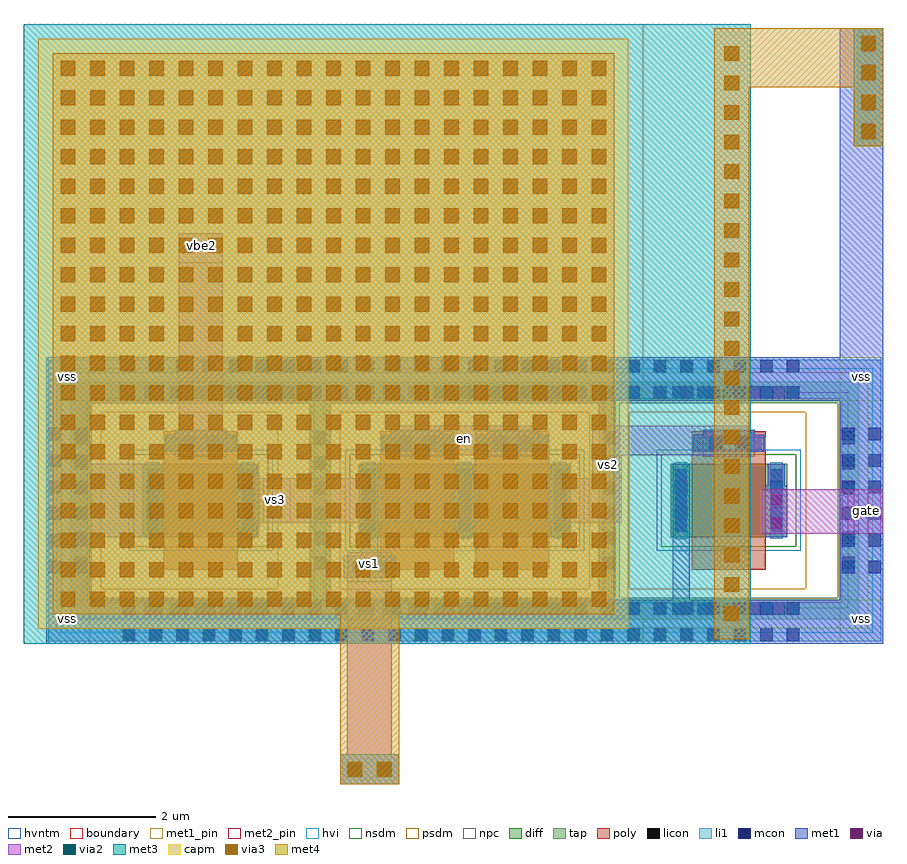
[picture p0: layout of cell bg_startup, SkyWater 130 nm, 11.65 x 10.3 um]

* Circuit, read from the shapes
.subckt bg_startup en gate vbe2 vs1 vs2 vs3 vss
XM1 vs3 vbe2 vss vss sky130_fd_pr__nfet_g5v0d10v5 w=1 l=1
XM2 vs3 en vs1 vss sky130_fd_pr__nfet_g5v0d10v5 w=1 l=1
XM3 vs2 en vs3 vss sky130_fd_pr__nfet_g5v0d10v5 w=1 l=1
XM4 gate vs2 vss vss sky130_fd_pr__nfet_g5v0d10v5 w=1 l=1
XC5 vs1 vss sky130_fd_pr__cap_mim_m3_1 w=8 l=8
.ends

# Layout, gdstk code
from math import pi, radians
import gdstk
lib = gdstk.Library(unit=1e-6, precision=1e-09)
def R(c, l, rs):  # rectangles x0, y0, x1, y1
    for r in rs: c.add(gdstk.rectangle(r[:2], r[2:], *l))
def A(c, l, x, y, w, h, nx, ny, dx, dy):  # array of equal rectangles
    R(c, l, [(x+i*dx, y+j*dy, x+i*dx+w, y+j*dy+h) for i in range(nx) for j in range(ny)])
diff = (65, 20)
tap = (65, 44)
poly = (66, 20)
licon = (66, 44)
li1 = (67, 20)
mcon = (67, 44)
met1_pin = (68, 16)
met1 = (68, 20)
via = (68, 44)
met2_pin = (69, 16)
met2 = (69, 20)
via2 = (69, 44)
met3 = (70, 20)
via3 = (70, 44)
met4 = (71, 20)
hvi = (75, 20)
capm = (89, 44)
nsdm = (93, 44)
psdm = (94, 20)
npc = (95, 20)
hvntm = (125, 20)
boundary = (235, 4)

via__m2_m3 = lib.new_cell('via__M2_M3')
R(via__m2_m3, met2, [(0,0,0.8,0.4)])
R(via__m2_m3, via2, [(0.1,0.1,0.3,0.3), (0.1,0.1,0.3,0.3), (0.5,0.1,0.7,0.3), (0.5,0.1,0.7,0.3)])
R(via__m2_m3, met3, [(0,0,0.8,0.4)])

via__m3_m4 = lib.new_cell('via__M3_M4')
R(via__m3_m4, met3, [(0,0,0.8,0.4)])
R(via__m3_m4, via3, [(0.1,0.1,0.3,0.3), (0.5,0.1,0.7,0.3)])
R(via__m3_m4, met4, [(0,0,0.8,0.4)])

via__m1_m2 = lib.new_cell('via__M1_M2')
R(via__m1_m2, met1, [(0,0.05,0.7,0.35)])
R(via__m1_m2, via, [(0.115,0.125,0.265,0.275), (0.435,0.125,0.585,0.275)])
R(via__m1_m2, met2, [(0.05,0,0.65,0.4)])

via__li_m1 = lib.new_cell('via__LI_M1')
R(via__li_m1, li1, [(0.03,0.03,0.56,0.2)])
R(via__li_m1, mcon, [(0.03,0.03,0.2,0.2), (0.39,0.03,0.56,0.2)])
R(via__li_m1, met1, [(0,0,0.59,0.23)])

sky130_fd_pr__nfet_g5v0d = lib.new_cell('sky130_fd_pr__nfet_g5v0d10v5_JZWRYR')
R(sky130_fd_pr__nfet_g5v0d, diff, [(1.16,1.295,2.74,2.295)])
R(sky130_fd_pr__nfet_g5v0d, tap, [(0.185,0.185,3.715,0.475), (0.185,0.475,0.475,3.115), (3.425,0.475,3.715,3.115), (0.185,3.115,3.715,3.405)])
R(sky130_fd_pr__nfet_g5v0d, poly, [(1.45,0.855,2.45,2.735)])
A(sky130_fd_pr__nfet_g5v0d, licon, 1.185, 0.245, 0.17, 0.17, 5, 2, 0.34, 2.93)
A(sky130_fd_pr__nfet_g5v0d, licon, 0.245, 0.86, 0.17, 0.17, 1, 6, 0, 0.34)
A(sky130_fd_pr__nfet_g5v0d, licon, 3.485, 0.86, 0.17, 0.17, 1, 6, 0, 0.34)
A(sky130_fd_pr__nfet_g5v0d, licon, 1.22, 1.37, 0.17, 0.17, 1, 3, 0, 0.34)
A(sky130_fd_pr__nfet_g5v0d, licon, 2.51, 1.37, 0.17, 0.17, 1, 3, 0, 0.34)
R(sky130_fd_pr__nfet_g5v0d, licon, [(1.695,2.485,1.865,2.655), (2.035,2.485,2.205,2.655)])
R(sky130_fd_pr__nfet_g5v0d, li1, [(0.245,0.245,3.655,0.415), (0.245,0.415,0.415,3.175), (3.485,0.415,3.655,3.175), (1.22,1.275,1.39,2.315), (2.51,1.275,2.68,2.315), (1.45,2.485,2.45,2.655), (0.245,3.175,3.655,3.345)])
R(sky130_fd_pr__nfet_g5v0d, mcon, [(1.22,1.53,1.39,1.7), (2.51,1.53,2.68,1.7), (1.22,1.89,1.39,2.06), (2.51,1.89,2.68,2.06), (1.685,2.485,1.855,2.655), (2.045,2.485,2.215,2.655)])
R(sky130_fd_pr__nfet_g5v0d, met1, [(1.19,1.295,1.42,2.295), (2.48,1.295,2.71,2.295), (1.47,2.455,2.43,2.685)])
R(sky130_fd_pr__nfet_g5v0d, hvi, [(0,0,3.9,3.59)])
R(sky130_fd_pr__nfet_g5v0d, nsdm, [(1.035,1.17,2.865,2.42)])
R(sky130_fd_pr__nfet_g5v0d, psdm, [(0.06,0.06,3.84,0.6), (0.06,0.6,0.6,2.99), (2.995,0.6,3.84,2.99), (0.06,2.99,3.84,3.53)])
R(sky130_fd_pr__nfet_g5v0d, npc, [(1.595,2.385,2.305,2.755)])
R(sky130_fd_pr__nfet_g5v0d, hvntm, [(0.975,1.11,2.925,2.48)])
R(sky130_fd_pr__nfet_g5v0d, boundary, [(0.33,0.33,3.57,3.26)])

bg_ms3 = lib.new_cell('bg_ms3')
bg_ms3.add(gdstk.Reference(sky130_fd_pr__nfet_g5v0d, (0,0)))

c_sky130_fd_pr__nfet_g5v0d = lib.new_cell('sky130_fd_pr__nfet_g5v0d10v5_JZWRYS')
R(c_sky130_fd_pr__nfet_g5v0d, diff, [(1.16,1.295,2.74,2.295)])
R(c_sky130_fd_pr__nfet_g5v0d, tap, [(0.185,0.185,3.715,0.475), (0.185,0.475,0.475,3.115), (3.425,0.475,3.715,3.115), (0.185,3.115,3.715,3.405)])
R(c_sky130_fd_pr__nfet_g5v0d, poly, [(1.45,0.855,2.45,2.735)])
A(c_sky130_fd_pr__nfet_g5v0d, licon, 1.185, 0.245, 0.17, 0.17, 5, 2, 0.34, 2.93)
A(c_sky130_fd_pr__nfet_g5v0d, licon, 0.245, 0.86, 0.17, 0.17, 1, 6, 0, 0.34)
A(c_sky130_fd_pr__nfet_g5v0d, licon, 3.485, 0.86, 0.17, 0.17, 1, 6, 0, 0.34)
A(c_sky130_fd_pr__nfet_g5v0d, licon, 1.22, 1.37, 0.17, 0.17, 1, 3, 0, 0.34)
A(c_sky130_fd_pr__nfet_g5v0d, licon, 2.51, 1.37, 0.17, 0.17, 1, 3, 0, 0.34)
R(c_sky130_fd_pr__nfet_g5v0d, licon, [(1.695,2.485,1.865,2.655), (2.035,2.485,2.205,2.655)])
R(c_sky130_fd_pr__nfet_g5v0d, li1, [(0.245,0.245,3.655,0.415), (0.245,0.415,0.415,3.175), (3.485,0.415,3.655,3.175), (1.22,1.275,1.39,2.315), (2.51,1.275,2.68,2.315), (1.45,2.485,2.45,2.655), (0.245,3.175,3.655,3.345)])
R(c_sky130_fd_pr__nfet_g5v0d, mcon, [(1.22,1.53,1.39,1.7), (2.51,1.53,2.68,1.7), (1.22,1.89,1.39,2.06), (2.51,1.89,2.68,2.06), (1.685,2.485,1.855,2.655), (2.045,2.485,2.215,2.655)])
R(c_sky130_fd_pr__nfet_g5v0d, met1, [(1.19,1.295,1.42,2.295), (2.48,1.295,2.71,2.295), (1.47,2.455,2.43,2.685)])
R(c_sky130_fd_pr__nfet_g5v0d, hvi, [(0,0,3.9,3.59)])
R(c_sky130_fd_pr__nfet_g5v0d, nsdm, [(1.035,1.17,2.865,2.42)])
R(c_sky130_fd_pr__nfet_g5v0d, psdm, [(0.06,0.06,3.84,0.6), (0.06,0.6,0.6,2.99), (2.995,0.6,3.84,2.99), (0.06,2.99,3.84,3.53)])
R(c_sky130_fd_pr__nfet_g5v0d, npc, [(1.595,2.385,2.305,2.755)])
R(c_sky130_fd_pr__nfet_g5v0d, hvntm, [(0.975,1.11,2.925,2.48)])
R(c_sky130_fd_pr__nfet_g5v0d, boundary, [(0.33,0.33,3.57,3.26)])

bg_ms1 = lib.new_cell('bg_ms1')
bg_ms1.add(gdstk.Reference(c_sky130_fd_pr__nfet_g5v0d, (0,0)))

bg_c1 = lib.new_cell('bg_c1')
R(bg_c1, met3, [(0,0,9.86,8.4)])
A(bg_c1, via3, 9.5, 0.3, 0.2, 0.2, 1, 20, 0, 0.4)
A(bg_c1, via3, 0.5, 0.5, 0.2, 0.2, 19, 19, 0.4, 0.4)
R(bg_c1, met4, [(9.36,0.06,9.84,8.34), (0.395,0.395,8.005,8.005)])
R(bg_c1, capm, [(0.2,0.2,8.2,8.2)])
R(bg_c1, boundary, [(0,0,8.4,8.4)])

bg_ms3_ms4 = lib.new_cell('bg_ms3_ms4')
R(bg_ms3_ms4, diff, [(0.855,1.295,3.725,2.295)])
R(bg_ms3_ms4, tap, [(0.185,0.185,4.395,0.475), (0.185,0.475,0.475,3.115), (4.105,0.475,4.395,3.115), (0.185,3.115,4.395,3.405)])
R(bg_ms3_ms4, poly, [(1.145,0.855,2.145,2.735), (2.435,0.855,3.435,2.735)])
A(bg_ms3_ms4, licon, 0.845, 0.245, 0.17, 0.17, 9, 2, 0.34, 2.93)
A(bg_ms3_ms4, licon, 0.245, 0.86, 0.17, 0.17, 1, 6, 0, 0.34)
A(bg_ms3_ms4, licon, 4.165, 0.86, 0.17, 0.17, 1, 6, 0, 0.34)
A(bg_ms3_ms4, licon, 0.915, 1.37, 0.17, 0.17, 3, 3, 1.29, 0.34)
R(bg_ms3_ms4, licon, [(1.39,2.485,1.56,2.655), (1.73,2.485,1.9,2.655), (2.68,2.485,2.85,2.655), (3.02,2.485,3.19,2.655)])
A(bg_ms3_ms4, li1, 0.915, 1.275, 0.17, 1.04, 3, 1, 1.29, 0)
R(bg_ms3_ms4, li1, [(0.245,0.245,4.335,0.415), (0.245,0.415,0.415,3.175), (4.165,0.415,4.335,3.175), (1.145,2.485,2.145,2.655), (2.435,2.485,3.435,2.655), (0.245,3.175,4.335,3.345)])
A(bg_ms3_ms4, mcon, 0.915, 1.53, 0.17, 0.17, 3, 2, 1.29, 0.36)
R(bg_ms3_ms4, mcon, [(1.38,2.485,1.55,2.655), (1.74,2.485,1.91,2.655), (2.67,2.485,2.84,2.655), (3.03,2.485,3.2,2.655)])
A(bg_ms3_ms4, met1, 0.885, 1.295, 0.23, 1, 3, 1, 1.29, 0)
R(bg_ms3_ms4, met1, [(1.165,2.455,2.125,2.685), (2.455,2.455,3.415,2.685)])
R(bg_ms3_ms4, hvi, [(0,0,4.58,3.59)])
R(bg_ms3_ms4, nsdm, [(0.73,1.17,3.85,2.42)])
R(bg_ms3_ms4, psdm, [(0.06,0.06,4.52,0.6), (0.06,0.6,0.6,2.99), (3.98,0.6,4.52,2.99), (0.06,2.99,4.52,3.53)])
R(bg_ms3_ms4, npc, [(1.29,2.385,2,2.755), (2.58,2.385,3.29,2.755)])
R(bg_ms3_ms4, hvntm, [(0.67,1.11,3.91,2.48)])
R(bg_ms3_ms4, boundary, [(0.33,0.33,4.25,3.26)])

bg_startup = lib.new_cell('bg_startup')
R(bg_startup, li1, [(0.03,1.935,11.32,2.465), (0.03,1.935,0.56,5.755), (10.79,1.935,11.32,5.755), (0.03,5.225,11.32,5.755)])
R(bg_startup, met1_pin, [(0,1.905,0.59,2.495), (10.76,1.905,11.35,2.495), (0,5.195,0.59,5.785), (10.76,5.195,11.35,5.785)])
R(bg_startup, met1, [(0,1.905,0.59,5.785), (0,1.905,11.35,2.495), (8.495,1.905,8.725,4.345), (10.76,1.905,11.35,5.785), (4.27,2.795,4.5,3.345), (0,3.345,1.565,4.345), (0,5.195,11.35,5.785), (10.76,5.785,11.35,10.245), (10.95,8.645,11.35,10.245)])
R(bg_startup, met2_pin, [(4.085,2.745,4.685,3.145), (10.95,3.395,11.35,3.995), (2.94,3.545,3.31,4.145), (7.405,4.145,7.805,4.455), (5.33,4.455,6.02,4.855), (1.795,7.07,2.395,7.47)])
R(bg_startup, met2, [(4.085,0,4.685,3.145), (9.7,3.395,11.35,3.995), (10.95,3.395,11.35,3.995), (2.54,3.545,5.875,4.145), (2.54,3.545,5.875,4.145), (6.765,3.545,7.805,4.145), (7.405,3.545,7.805,4.855), (1.795,4.455,2.395,7.47), (4.73,4.455,6.62,4.855), (7.405,4.455,9.555,4.855)])
R(bg_startup, met4, [(3.985,0,4.785,2.3), (9.055,9.445,11.35,10.245)])
bg_startup.add(gdstk.Reference(via__m2_m3, (4.785,0.4), rotation=pi))
bg_startup.add(gdstk.Reference(via__m2_m3, (4.785,0.4), rotation=pi))
bg_startup.add(gdstk.Reference(via__m3_m4, (4.785,0.4), rotation=pi))
bg_startup.add(gdstk.Reference(via__m3_m4, (4.785,0.4), rotation=pi))
bg_startup.add(gdstk.Reference(via__m2_m3, (10.95,9.445), rotation=3*pi/2))
bg_startup.add(gdstk.Reference(via__m2_m3, (10.95,10.245), rotation=3*pi/2))
bg_startup.add(gdstk.Reference(via__m3_m4, (10.95,9.445), rotation=3*pi/2))
bg_startup.add(gdstk.Reference(via__m3_m4, (10.95,10.245), rotation=3*pi/2))
bg_startup.add(gdstk.Reference(via__m1_m2, (4.035,2.745)))
bg_startup.add(gdstk.Reference(via__m1_m2, (2.445,4.855), rotation=pi))
bg_startup.add(gdstk.Reference(via__m1_m2, (5.38,4.855), rotation=pi))
bg_startup.add(gdstk.Reference(via__m1_m2, (6.67,4.855), rotation=pi))
bg_startup.add(gdstk.Reference(via__m1_m2, (9.605,4.855), rotation=pi))
bg_startup.add(gdstk.Reference(via__m1_m2, (10.1,3.345), rotation=pi/2))
bg_startup.add(gdstk.Reference(via__m1_m2, (2.94,3.495), rotation=pi/2))
bg_startup.add(gdstk.Reference(via__m1_m2, (5.875,3.495), rotation=pi/2))
bg_startup.add(gdstk.Reference(via__m1_m2, (7.165,3.495), rotation=pi/2))
bg_startup.add(gdstk.Reference(via__m1_m2, (11.35,8.695), rotation=pi/2))
bg_startup.add(gdstk.Reference(via__m1_m2, (11.35,9.495), rotation=pi/2))
bg_startup.add(gdstk.Reference(via__li_m1, (10.76,2.83)))
bg_startup.add(gdstk.Reference(via__li_m1, (10.76,3.19)))
bg_startup.add(gdstk.Reference(via__li_m1, (10.76,3.55)))
bg_startup.add(gdstk.Reference(via__li_m1, (10.76,3.91)))
bg_startup.add(gdstk.Reference(via__li_m1, (10.76,4.27)))
bg_startup.add(gdstk.Reference(via__li_m1, (10.76,4.63)))
bg_startup.add(gdstk.Reference(bg_ms3, (0.145,2.05)))
bg_startup.add(gdstk.Reference(bg_ms1, (7.305,2.05)))
bg_startup.add(gdstk.Reference(via__li_m1, (1.24,1.905), rotation=pi/2))
bg_startup.add(gdstk.Reference(via__li_m1, (1.6,1.905), rotation=pi/2))
bg_startup.add(gdstk.Reference(via__li_m1, (1.96,1.905), rotation=pi/2))
bg_startup.add(gdstk.Reference(via__li_m1, (2.32,1.905), rotation=pi/2))
bg_startup.add(gdstk.Reference(via__li_m1, (2.68,1.905), rotation=pi/2))
bg_startup.add(gdstk.Reference(via__li_m1, (3.04,1.905), rotation=pi/2))
bg_startup.add(gdstk.Reference(via__li_m1, (3.4,1.905), rotation=pi/2))
bg_startup.add(gdstk.Reference(via__li_m1, (3.76,1.905), rotation=pi/2))
bg_startup.add(gdstk.Reference(via__li_m1, (4.12,1.905), rotation=pi/2))
bg_startup.add(gdstk.Reference(via__li_m1, (4.48,1.905), rotation=pi/2))
bg_startup.add(gdstk.Reference(via__li_m1, (4.84,1.905), rotation=pi/2))
bg_startup.add(gdstk.Reference(via__li_m1, (5.2,1.905), rotation=pi/2))
bg_startup.add(gdstk.Reference(via__li_m1, (5.56,1.905), rotation=pi/2))
bg_startup.add(gdstk.Reference(via__li_m1, (5.92,1.905), rotation=pi/2))
bg_startup.add(gdstk.Reference(via__li_m1, (6.28,1.905), rotation=pi/2))
bg_startup.add(gdstk.Reference(via__li_m1, (6.64,1.905), rotation=pi/2))
bg_startup.add(gdstk.Reference(via__li_m1, (7,1.905), rotation=pi/2))
bg_startup.add(gdstk.Reference(via__li_m1, (7.36,1.905), rotation=pi/2))
bg_startup.add(gdstk.Reference(via__li_m1, (7.72,1.905), rotation=pi/2))
bg_startup.add(gdstk.Reference(via__li_m1, (8.08,1.905), rotation=pi/2))
bg_startup.add(gdstk.Reference(via__li_m1, (8.44,1.905), rotation=pi/2))
bg_startup.add(gdstk.Reference(via__li_m1, (8.8,1.905), rotation=pi/2))
bg_startup.add(gdstk.Reference(via__li_m1, (9.16,1.905), rotation=pi/2))
bg_startup.add(gdstk.Reference(via__li_m1, (9.52,1.905), rotation=pi/2))
bg_startup.add(gdstk.Reference(via__li_m1, (9.88,1.905), rotation=pi/2))
bg_startup.add(gdstk.Reference(via__li_m1, (10.24,1.905), rotation=pi/2))
bg_startup.add(gdstk.Reference(via__li_m1, (1.24,5.195), rotation=pi/2))
bg_startup.add(gdstk.Reference(via__li_m1, (1.6,5.195), rotation=pi/2))
bg_startup.add(gdstk.Reference(via__li_m1, (1.96,5.195), rotation=pi/2))
bg_startup.add(gdstk.Reference(via__li_m1, (2.32,5.195), rotation=pi/2))
bg_startup.add(gdstk.Reference(via__li_m1, (2.68,5.195), rotation=pi/2))
bg_startup.add(gdstk.Reference(via__li_m1, (3.04,5.195), rotation=pi/2))
bg_startup.add(gdstk.Reference(via__li_m1, (3.4,5.195), rotation=pi/2))
bg_startup.add(gdstk.Reference(via__li_m1, (3.76,5.195), rotation=pi/2))
bg_startup.add(gdstk.Reference(via__li_m1, (4.12,5.195), rotation=pi/2))
bg_startup.add(gdstk.Reference(via__li_m1, (4.48,5.195), rotation=pi/2))
bg_startup.add(gdstk.Reference(via__li_m1, (4.84,5.195), rotation=pi/2))
bg_startup.add(gdstk.Reference(via__li_m1, (5.2,5.195), rotation=pi/2))
bg_startup.add(gdstk.Reference(via__li_m1, (5.56,5.195), rotation=pi/2))
bg_startup.add(gdstk.Reference(via__li_m1, (5.92,5.195), rotation=pi/2))
bg_startup.add(gdstk.Reference(via__li_m1, (6.28,5.195), rotation=pi/2))
bg_startup.add(gdstk.Reference(via__li_m1, (6.64,5.195), rotation=pi/2))
bg_startup.add(gdstk.Reference(via__li_m1, (7,5.195), rotation=pi/2))
bg_startup.add(gdstk.Reference(via__li_m1, (7.36,5.195), rotation=pi/2))
bg_startup.add(gdstk.Reference(via__li_m1, (7.72,5.195), rotation=pi/2))
bg_startup.add(gdstk.Reference(via__li_m1, (8.08,5.195), rotation=pi/2))
bg_startup.add(gdstk.Reference(via__li_m1, (8.44,5.195), rotation=pi/2))
bg_startup.add(gdstk.Reference(via__li_m1, (8.8,5.195), rotation=pi/2))
bg_startup.add(gdstk.Reference(via__li_m1, (9.16,5.195), rotation=pi/2))
bg_startup.add(gdstk.Reference(via__li_m1, (9.52,5.195), rotation=pi/2))
bg_startup.add(gdstk.Reference(via__li_m1, (9.88,5.195), rotation=pi/2))
bg_startup.add(gdstk.Reference(via__li_m1, (10.24,5.195), rotation=pi/2))
bg_startup.add(gdstk.Reference(via__li_m1, (0.59,3.06), rotation=pi))
bg_startup.add(gdstk.Reference(via__li_m1, (0.59,3.42), rotation=pi))
bg_startup.add(gdstk.Reference(via__li_m1, (0.59,3.78), rotation=pi))
bg_startup.add(gdstk.Reference(via__li_m1, (0.59,4.14), rotation=pi))
bg_startup.add(gdstk.Reference(via__li_m1, (0.59,4.5), rotation=pi))
bg_startup.add(gdstk.Reference(via__li_m1, (0.59,4.86), rotation=pi))
bg_startup.add(gdstk.Reference(bg_c1, (-0.305,1.905)))
bg_startup.add(gdstk.Reference(bg_ms3_ms4, (3.385,2.05)))
bg_startup.add(gdstk.Label('vs1', (4.385,2.995), layer=69, texttype=16))
bg_startup.add(gdstk.Label('vs2', (7.62,4.33), layer=69, texttype=16))
bg_startup.add(gdstk.Label('en', (5.67,4.685), layer=69, texttype=16))
bg_startup.add(gdstk.Label('vs3', (3.115,3.86), layer=69, texttype=5))
bg_startup.add(gdstk.Label('gate', (11.12,3.705), layer=69, texttype=5))
bg_startup.add(gdstk.Label('vbe2', (2.1,7.295), layer=69, texttype=5))
bg_startup.add(gdstk.Label('vss', (0.295,2.24), layer=68, texttype=5))
bg_startup.add(gdstk.Label('vss', (11.055,2.24), layer=68, texttype=5))
bg_startup.add(gdstk.Label('vss', (0.295,5.53), layer=68, texttype=5))
bg_startup.add(gdstk.Label('vss', (11.055,5.53), layer=68, texttype=5))

lib.write_gds('bg_startup.gds')
